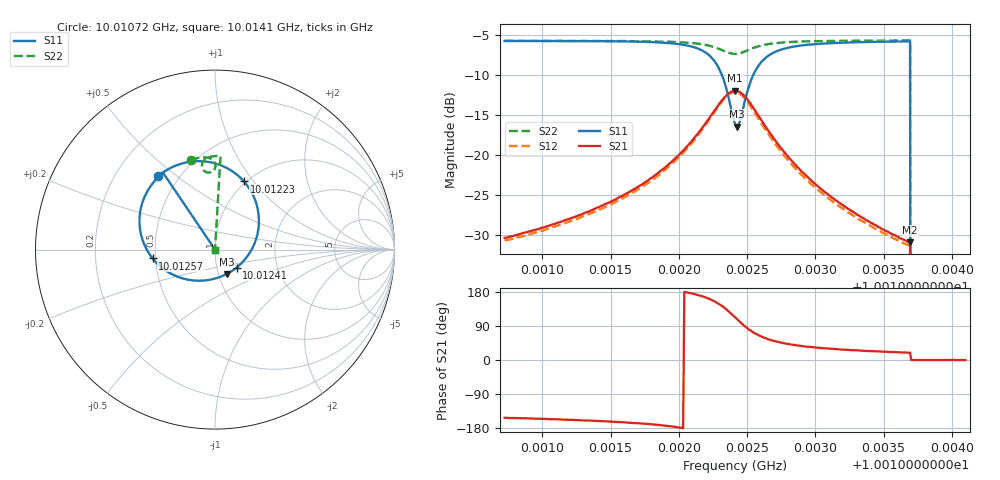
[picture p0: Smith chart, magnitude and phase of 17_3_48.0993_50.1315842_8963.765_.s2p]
#  HZ  S  RI  R  50.00
! Rohde & Schwarz Vector Network Analyzer
! Rohde-Schwarz,ZNB20-2Port,1311601062101988,3.16
! Created: UTC 12/23/2023, 3:36:17 AM
! freq[Hz]  re:S11  im:S11  re:S21  im:S21  re:S12  im:S12  re:S22  im:S22
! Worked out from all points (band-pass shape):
!   401 points, 10.01072 GHz to 10.0141 GHz, reference 50 ohm
!   highest |S21| = -11.95 dB at 10.01241 GHz (marker M1); lowest = -31.0 dB at 10.01369 GHz (marker M2)
!   |S21| within 3 dB of the highest: 10.01224 GHz to 10.01258 GHz (338.9 kHz wide, 0.00338 % of centre)
!   lowest |S11| = -16.4 dB at 10.01243 GHz (marker M3), VSWR 1.36, Z = 54.7 - j15.3 ohm
!   |S11| at or under -10 dB: 10.01232 GHz to 10.01254 GHz (228.4 kHz wide, 0.00228 % of centre); 10.01369 GHz to end of sweep
!   |S22| runs from - to -5.6 dB; largest |S21 - S12| = 0.012
!   S11 on the Smith chart (normalised r, x): 10.01072 GHz: 0.38, +0.43; 10.01223 GHz: 0.98, +0.90; 10.01241 GHz: 1.24, -0.26; 10.01257 GHz: 0.48, -0.05; 10.0141 GHz: 1.00, +0.00
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1.0010724e10  -0.3186 0.4094  -0.0268 -0.0139  -0.025 -0.0148  -0.1352 0.502
1.0011289e10  -0.2604 0.448  -0.0398 -0.015  -0.0375 -0.0167  -0.0959 0.5108
1.0011593e10  -0.2101 0.471  -0.0538 -0.0152  -0.051 -0.0172  -0.0721 0.5135
1.0011855e10  -0.1355 0.4897  -0.0772 -0.0116  -0.0736 -0.0152  -0.048 0.5131
1.0012099e10  0.0105 0.4775  -0.1233 0.00998  -0.1202 0.00294  -0.0182 0.5033
1.0012234e10  0.1614 0.3797  -0.165 0.0619  -0.1643 0.0516  -0.000159 0.4819
1.0012285e10  0.2191 0.2877  -0.1752 0.1019  -0.1774 0.0911  0.00278 0.4665
1.0012336e10  0.2443 0.1433  -0.1692 0.1566  -0.1729 0.147  -0.00244 0.4479
1.0012369e10  0.2182 0.0291  -0.147 0.1959  -0.1526 0.187  -0.0124 0.4363
1.0012412e10  0.1203 -0.1002  -0.0972 0.2333  -0.1027 0.226  -0.0319 0.429
1.0012428e10  0.0647 -0.1363  -0.0732 0.2409  -0.0782 0.2339  -0.0408 0.4294
1.0012454e10  -0.0302 -0.1685  -0.036 0.243  -0.0412 0.2362  -0.0525 0.4332
1.0012487e10  -0.1489 -0.1679  0.00813 0.2311  0.00412 0.2237  -0.0645 0.4432
1.0012572e10  -0.3477 -0.0491  0.07 0.1689  0.0624 0.1638  -0.0726 0.472
1.0012639e10  -0.4051 0.058  0.082 0.1245  0.0745 0.121  -0.0673 0.4888
1.0012741e10  -0.4204 0.1751  0.0777 0.0816  0.071 0.0801  -0.0546 0.5033
1.0012977e10  -0.3853 0.3096  0.0568 0.0382  0.0523 0.0384  -0.0279 0.5163
1.0013542e10  -0.305 0.4139  0.0304 0.0117  0.0281 0.0128  0.0197 0.5221
1.0013677e10  -0.2907 0.4262  0.0269 0.0095  0.0253 0.0105  0.0297 0.522
1.0013694e10  -0.2889 0.4276  0.0267 0.00933  0.0248 0.0101  0.0308 0.5219
1.0013719e10  0 0  0 0  0 0  0 0
1.0014099e10  0 0  0 0  0 0  0 0
